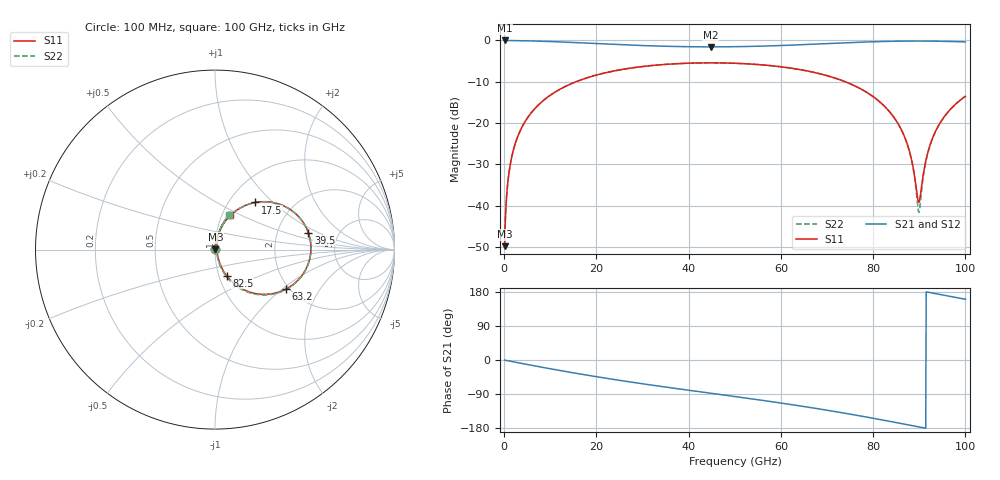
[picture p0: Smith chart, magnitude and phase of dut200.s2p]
! Touchstone file exported from HFSS 2026.1.0
!  File:  C:/ffzhzh/LocalFiles/Ansys_Project_Files/temp_train_RDL_200_1783500682_55944.aedt
!  Generated:  04:52:40 PM Jul  8, 2026
!  Design:  RDL
!  Project:  temp_train_RDL_200_1783500682_55944
! Variables:
!  h_bsmrdl = 2um
!  h_ox = 20um
!  h_rdl = 5um
!  h_sub = 80um
!  h_tmrdl = 4.88um
!  h_tsv = 80um
!  h_via = 3um
!  l_bsmrdl = 300um
!  l_sub = 1053.52um
!  l_tmrdl = 653.52um
!  m_sub = 200um
!  pitch = 58.38um
!  r_tsv = 6um
!  s_tmrdl = 10um
!  w_bsmrdl = 18um
!  w_sub = 500um
!  w_tmrdl = 27.16um
!  x_tsv_center1 = 667.1um
!  x_tsv_center2 = 985.1um
!  x_tsv_center3 = 1665.78um
!  x_tsv_center4 = 1983.78um
!  x_tsv_center5 = 2664.46um
!  x_tsv_center6 = 2982.46um
# GHz S MA R 50.000000
! Terminal data exported
! Port[1] = TM_RDL1_1_T1
! Port[2] = TM_RDL1_1_T2
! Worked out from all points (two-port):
!   1000 points, 100 MHz to 100 GHz, reference 50 ohm
!   highest |S21| = -0.02 dB at 100 MHz (marker M1); lowest = -1.6 dB at 44.8 GHz (marker M2)
!   |S21| within 3 dB of the highest: start of sweep to end of sweep
!   lowest |S11| = -49.8 dB at 100 MHz (marker M3), VSWR 1.01, Z = 50.2 + j0.258 ohm
!   |S11| at or under -10 dB: start of sweep to 15.6 GHz; 73.92 GHz to end of sweep
!   |S22| runs from -49.8 to -5.4 dB; largest |S21 - S12| = 1.7e-14
!   S11 on the Smith chart (normalised r, x): 100 MHz: 1.00, +0.01; 17.5 GHz: 1.31, +0.78; 39.5 GHz: 3.01, +0.79; 63.2 GHz: 1.92, -1.06; 82.5 GHz: 1.09, -0.32; 100 GHz: 1.08, +0.44
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0.1  0.003233 52.7  0.998 -0.3  0.998 -0.3  0.003233 52.7
! Gamma 0 0 0 0
! Port Impedance 50 0 50 0
0.8  0.0192 80.6  0.9973 -1.9  0.9973 -1.9  0.0192 80.6
1.4  0.03316 81.8  0.9967 -3.4  0.9967 -3.4  0.03316 81.8
3.9  0.09004 77.9  0.9915 -9.3  0.9915 -9.3  0.09004 77.9
8.9  0.1953 67.2  0.9736 -20.7  0.9736 -20.7  0.1953 67.2
16.8  0.335 50.9  0.9331 -37.6  0.9331 -37.6  0.335 50.8
17.5  0.3455 49.5  0.9292 -39.1  0.9292 -39.1  0.3456 49.4
33.4  0.5043 20.5  0.8535 -68.7  0.8535 -68.7  0.5044 20.3
39.5  0.5284 10.4  0.839 -79.0  0.839 -79.0  0.5285 10.1
44.8  0.5349 1.7  0.8349 -87.7  0.8349 -87.7  0.5351 1.5
50.1  0.5283 -6.9  0.8389 -96.5  0.8389 -96.5  0.5285 -7.2
63.2  0.452 -29.2  0.8805 -119.4  0.8805 -119.4  0.4523 -29.7
66.7  0.4155 -35.6  0.8974 -126.0  0.8974 -126.0  0.4157 -36.1
76  0.2816 -53.6  0.9451 -145.0  0.9451 -145.0  0.2819 -54.4
82.5  0.1586 -66.1  0.9712 -159.4  0.9712 -159.4  0.1588 -67.4
83.4  0.1401 -67.6  0.9738 -161.4  0.9738 -161.4  0.1403 -69.0
87.4  0.05555 -69.8  0.9811 -170.7  0.9811 -170.7  0.05543 -72.9
88.5  0.03243 -64.0  0.9818 -173.2  0.9818 -173.2  0.03196 -69.1
89.9  0.01098 3.3  0.982 -176.5  0.982 -176.5  0.008288 0.7
91.6  0.03871 72.7  0.9809 179.6  0.9809 179.6  0.0377 76.1
93.2  0.07253 76.8  0.9787 175.8  0.9787 175.8  0.07184 78.5
100  0.2107 67.2  0.958 160.4  0.958 160.4  0.2102 67.5
